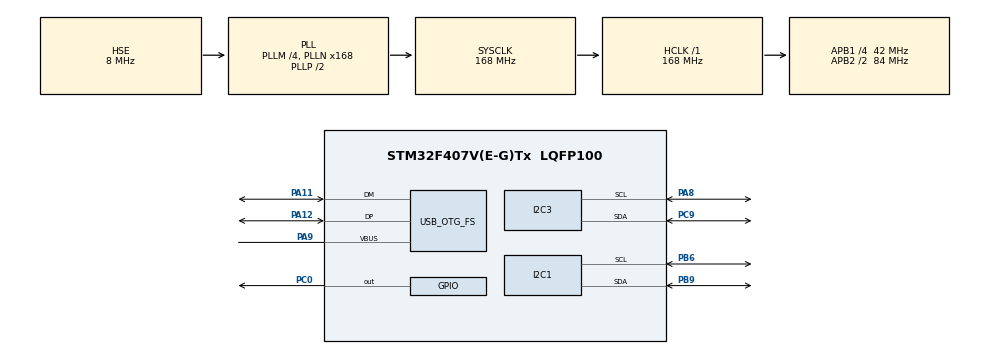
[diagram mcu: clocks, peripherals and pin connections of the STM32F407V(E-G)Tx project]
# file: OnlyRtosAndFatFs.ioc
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FATFS._MAX_SS=4096
FREERTOS.Tasks01=defaultTask,0,128,StartDefaultTask,Default,NULL,Dynamic,NULL,NULL;audioTask,-3,128,StartAudioTask,Default,NULL,Dynamic,NULL,NULL
Mcu.Family=STM32F4
Mcu.Name=STM32F407V(E-G)Tx
Mcu.Package=LQFP100
NVIC.OTG_FS_IRQn=true\:5\:0\:false\:false\:true\:true\:false\:true
NVIC.PriorityGroup=NVIC_PRIORITYGROUP_4
NVIC.TIM1_UP_TIM10_IRQn=true\:15\:0\:false\:false\:true\:false\:false\:true
NVIC.TimeBase=TIM1_UP_TIM10_IRQn
NVIC.TimeBaseIP=TIM1
PA0-WKUP.Mode=SYS_WakeUp0
PA0-WKUP.Signal=SYS_WKUP
PA11.Mode=Host_Only
PA11.Signal=USB_OTG_FS_DM
PA12.Mode=Host_Only
PA12.Signal=USB_OTG_FS_DP
PA13.Mode=Serial_Wire
PA13.Signal=SYS_JTMS-SWDIO
PA14.Mode=Serial_Wire
PA14.Signal=SYS_JTCK-SWCLK
PA8.Mode=I2C
PA8.Signal=I2C3_SCL
PA9.Mode=Activate_VBUS
PA9.Signal=USB_OTG_FS_VBUS
PB6.Mode=I2C
PB6.Signal=I2C1_SCL
PB9.Mode=I2C
PB9.Signal=I2C1_SDA
PC0.Signal=GPIO_Output
PC9.Mode=I2C
PC9.Signal=I2C3_SDA
PH0-OSC_IN.Mode=HSE-External-Oscillator
PH0-OSC_IN.Signal=RCC_OSC_IN
PH1-OSC_OUT.Mode=HSE-External-Oscillator
PH1-OSC_OUT.Signal=RCC_OSC_OUT
ProjectManager.HeapSize=0x200
ProjectManager.StackSize=0x400
ProjectManager.TargetToolchain=STM32CubeIDE
RCC.48MHZClocksFreq_Value=48000000
RCC.AHBFreq_Value=168000000
RCC.APB1CLKDivider=RCC_HCLK_DIV4
RCC.APB1Freq_Value=42000000
RCC.APB1TimFreq_Value=84000000
RCC.APB2CLKDivider=RCC_HCLK_DIV2
RCC.APB2Freq_Value=84000000
RCC.APB2TimFreq_Value=168000000
RCC.CortexFreq_Value=168000000
RCC.HCLKFreq_Value=168000000
RCC.HSE_VALUE=8000000
RCC.HSI_VALUE=16000000
RCC.LSE_VALUE=32768
RCC.PLLM=4
RCC.PLLN=168
RCC.PLLQ=7
RCC.SYSCLKFreq_VALUE=168000000
RCC.SYSCLKSource=RCC_SYSCLKSOURCE_PLLCLK
RCC.VCOOutputFreq_Value=336000000
TIM2.Period=0xFFFFFFFF-1
TIM2.Prescaler=83
USB_HOST.BSP.number=1
USB_HOST.USBH_HandleTypeDef-MSC_FS=hUsbHostFS
USB_HOST.VirtualModeFS=Msc
USB_HOST0.BSP.STBoard=false
USB_HOST0.BSP.api=Unknown
USB_HOST0.BSP.i2caddr=0
USB_HOST0.BSP.instance=PC0
USB_HOST0.BSP.ip=GPIO
USB_HOST0.BSP.mode=Output
USB_HOST0.BSP.name=Drive_VBUS_FS
USB_HOST0.BSP.solution=PC0
USB_OTG_FS.VirtualMode=Host_Only
USB_OTG_FS.phy_itface=HCD_PHY_EMBEDDED
VP_FATFS_VS_USB.Mode=USB
VP_FREERTOS_VS_CMSIS_V1.Mode=CMSIS_V1
VP_SYS_VS_tim1.Mode=TIM1
VP_TIM2_VS_ClockSourceINT.Mode=Internal
VP_USB_HOST_VS_USB_HOST_MSC_FS.Mode=MSC_FS
board=custom

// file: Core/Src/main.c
/* USER CODE BEGIN Header */
/**
  ******************************************************************************
  * @file           : main.c
  * @brief          : Main program body
  ******************************************************************************
  * @attention
  *
  * <h2><center>&copy; Copyright (c) 2021 STMicroelectronics.
  * All rights reserved.</center></h2>
  *
  * This software component is licensed by ST under BSD 3-Clause license,
  * the "License"; You may not use this file except in compliance with the
  * License. You may obtain a copy of the License at:
  *                        opensource.org/licenses/BSD-3-Clause
  *
  ******************************************************************************
  */
/* USER CODE END Header */
#include "main.h"
#include "cmsis_os.h"
#include "fatfs.h"
#include "usb_host.h"
#include "usb_host.h"

/* USER CODE BEGIN Includes */
#include "lcd.h"
/* USER CODE END Includes */

I2C_HandleTypeDef hi2c1;
I2C_HandleTypeDef hi2c3;

TIM_HandleTypeDef htim2;

osThreadId defaultTaskHandle;
osThreadId audioTaskHandle;
/* USER CODE BEGIN PV */
FATFS USBDISKFatFs;
//extern USBH_HandleTypeDef hUsbHostFS;
char *FilNam[20];//????? ??????
volatile int nFiles = 0;
extern ApplicationTypeDef Appli_state;

/* USER CODE END PV */

void SystemClock_Config(void);
static void MX_GPIO_Init(void);
static void MX_I2C1_Init(void);
static void MX_I2C3_Init(void);
static void MX_TIM2_Init(void);
void StartDefaultTask(void const * argument);
void StartAudioTask(void const * argument);

/* USER CODE BEGIN 0 */
void GetFileList(void)
{
   FRESULT result;                                                               /* FatFs function common result code */
   /* File read buffer */

   DIR dir;
   nFiles = 0;
   static FILINFO fileInfo;

//   FRESULT res = f_mount(&USBHFatFS,USBHPath,0);
   result = f_mount(&USBHFatFS,USBHPath,0);
   result = f_opendir(&dir, "/");

   if (result == FR_OK)//FR_NOT_ENABLED
   {
      result = f_readdir(&dir, &fileInfo);//??? ???? ????? ? ????? ???????? system volume
      while (((result = f_readdir(&dir, &fileInfo)) == FR_OK) && fileInfo.fname[0])
      {
         if(strstr(fileInfo.fname,".wav"))
         {
           FilNam[nFiles] =  ff_malloc(strlen(fileInfo.fname));
           strncpy(FilNam[nFiles], fileInfo.fname, (strlen(fileInfo.fname)));
           nFiles++;
         }
      }
   }
   f_closedir(&dir);
}
/* USER CODE END 0 */

int main(void)
{

  /* MCU Configuration--------------------------------------------------------*/

  /* Reset of all peripherals, Initializes the Flash interface and the Systick. */
  HAL_Init();

  /* Configure the system clock */
  SystemClock_Config();

  /* Initialize all configured peripherals */
  MX_GPIO_Init();
  MX_FATFS_Init();
  MX_I2C1_Init();
  MX_I2C3_Init();
  MX_TIM2_Init();
  /* USER CODE BEGIN 2 */
  HAL_TIM_Base_Start(&htim2);

  LCD_ini();
  /* USER CODE END 2 */

  /* Create the thread(s) */
  /* definition and creation of defaultTask */
  osThreadDef(defaultTask, StartDefaultTask, osPriorityNormal, 0, 128);
  defaultTaskHandle = osThreadCreate(osThread(defaultTask), NULL);

  /* definition and creation of audioTask */
  osThreadDef(audioTask, StartAudioTask, osPriorityIdle, 0, 128);
  audioTaskHandle = osThreadCreate(osThread(audioTask), NULL);

  /* Start scheduler */
  osKernelStart();

  /* We should never get here as control is now taken by the scheduler */
  /* Infinite loop */
  while (1)
  {

  }
}

void SystemClock_Config(void)
{
  RCC_OscInitTypeDef RCC_OscInitStruct = {0};
  RCC_ClkInitTypeDef RCC_ClkInitStruct = {0};

  /** Configure the main internal regulator output voltage
  */
  __HAL_RCC_PWR_CLK_ENABLE();
  __HAL_PWR_VOLTAGESCALING_CONFIG(PWR_REGULATOR_VOLTAGE_SCALE1);
  /** Initializes the RCC Oscillators according to the specified parameters
  * in the RCC_OscInitTypeDef structure.
  */
  RCC_OscInitStruct.OscillatorType = RCC_OSCILLATORTYPE_HSE;
  RCC_OscInitStruct.HSEState = RCC_HSE_ON;
  RCC_OscInitStruct.PLL.PLLState = RCC_PLL_ON;
  RCC_OscInitStruct.PLL.PLLSource = RCC_PLLSOURCE_HSE;
  RCC_OscInitStruct.PLL.PLLM = 4;
  RCC_OscInitStruct.PLL.PLLN = 168;
  RCC_OscInitStruct.PLL.PLLP = RCC_PLLP_DIV2;
  RCC_OscInitStruct.PLL.PLLQ = 7;
  if (HAL_RCC_OscConfig(&RCC_OscInitStruct) != HAL_OK)
  {
    Error_Handler();
  }
  /** Initializes the CPU, AHB and APB buses clocks
  */
  RCC_ClkInitStruct.ClockType = RCC_CLOCKTYPE_HCLK|RCC_CLOCKTYPE_SYSCLK
                              |RCC_CLOCKTYPE_PCLK1|RCC_CLOCKTYPE_PCLK2;
  RCC_ClkInitStruct.SYSCLKSource = RCC_SYSCLKSOURCE_PLLCLK;
  RCC_ClkInitStruct.AHBCLKDivider = RCC_SYSCLK_DIV1;
  RCC_ClkInitStruct.APB1CLKDivider = RCC_HCLK_DIV4;
  RCC_ClkInitStruct.APB2CLKDivider = RCC_HCLK_DIV2;

  if (HAL_RCC_ClockConfig(&RCC_ClkInitStruct, FLASH_LATENCY_5) != HAL_OK)
  {
    Error_Handler();
  }
}

static void MX_I2C1_Init(void)
{

  hi2c1.Instance = I2C1;
  hi2c1.Init.ClockSpeed = 100000;
  hi2c1.Init.DutyCycle = I2C_DUTYCYCLE_2;
  hi2c1.Init.OwnAddress1 = 0;
  hi2c1.Init.AddressingMode = I2C_ADDRESSINGMODE_7BIT;
  hi2c1.Init.DualAddressMode = I2C_DUALADDRESS_DISABLE;
  hi2c1.Init.OwnAddress2 = 0;
  hi2c1.Init.GeneralCallMode = I2C_GENERALCALL_DISABLE;
  hi2c1.Init.NoStretchMode = I2C_NOSTRETCH_DISABLE;
  if (HAL_I2C_Init(&hi2c1) != HAL_OK)
  {
    Error_Handler();
  }

}

static void MX_I2C3_Init(void)
{

  hi2c3.Instance = I2C3;
  hi2c3.Init.ClockSpeed = 100000;
  hi2c3.Init.DutyCycle = I2C_DUTYCYCLE_2;
  hi2c3.Init.OwnAddress1 = 0;
  hi2c3.Init.AddressingMode = I2C_ADDRESSINGMODE_7BIT;
  hi2c3.Init.DualAddressMode = I2C_DUALADDRESS_DISABLE;
  hi2c3.Init.OwnAddress2 = 0;
  hi2c3.Init.GeneralCallMode = I2C_GENERALCALL_DISABLE;
  hi2c3.Init.NoStretchMode = I2C_NOSTRETCH_DISABLE;
  if (HAL_I2C_Init(&hi2c3) != HAL_OK)
  {
    Error_Handler();
  }

}

static void MX_TIM2_Init(void)
{

  TIM_ClockConfigTypeDef sClockSourceConfig = {0};
  TIM_MasterConfigTypeDef sMasterConfig = {0};

  htim2.Instance = TIM2;
  htim2.Init.Prescaler = 83;
  htim2.Init.CounterMode = TIM_COUNTERMODE_UP;
  htim2.Init.Period = 0xFFFFFFFF-1;
  htim2.Init.ClockDivision = TIM_CLOCKDIVISION_DIV1;
  htim2.Init.AutoReloadPreload = TIM_AUTORELOAD_PRELOAD_DISABLE;
  if (HAL_TIM_Base_Init(&htim2) != HAL_OK)
  {
    Error_Handler();
  }
  sClockSourceConfig.ClockSource = TIM_CLOCKSOURCE_INTERNAL;
  if (HAL_TIM_ConfigClockSource(&htim2, &sClockSourceConfig) != HAL_OK)
  {
    Error_Handler();
  }
  sMasterConfig.MasterOutputTrigger = TIM_TRGO_RESET;
  sMasterConfig.MasterSlaveMode = TIM_MASTERSLAVEMODE_DISABLE;
  if (HAL_TIMEx_MasterConfigSynchronization(&htim2, &sMasterConfig) != HAL_OK)
  {
    Error_Handler();
  }

}

static void MX_GPIO_Init(void)
{
  GPIO_InitTypeDef GPIO_InitStruct = {0};

  /* GPIO Ports Clock Enable */
  __HAL_RCC_GPIOH_CLK_ENABLE();
  __HAL_RCC_GPIOC_CLK_ENABLE();
  __HAL_RCC_GPIOA_CLK_ENABLE();
  __HAL_RCC_GPIOB_CLK_ENABLE();

  /*Configure GPIO pin Output Level */
  HAL_GPIO_WritePin(GPIOC, GPIO_PIN_0, GPIO_PIN_RESET);

  /*Configure GPIO pin : PC0 */
  GPIO_InitStruct.Pin = GPIO_PIN_0;
  GPIO_InitStruct.Mode = GPIO_MODE_OUTPUT_PP;
  GPIO_InitStruct.Pull = GPIO_NOPULL;
  GPIO_InitStruct.Speed = GPIO_SPEED_FREQ_LOW;
  HAL_GPIO_Init(GPIOC, &GPIO_InitStruct);

}

void StartDefaultTask(void const * argument)
{
  /* init code for USB_HOST */
  MX_USB_HOST_Init();
  /* USER CODE BEGIN 5 */
    LCD_Clear();
	LCD_SetPos(0, 0);
	LCD_String("You'd better run");
	HAL_Delay(2000);
  /* Infinite loop */
  for(;;)
  {
    osDelay(1);
  }
  /* USER CODE END 5 */
}

void StartAudioTask(void const * argument)
{
  for(;;)
  {
    osDelay(1);
  }
}

void HAL_TIM_PeriodElapsedCallback(TIM_HandleTypeDef *htim)
{
  if (htim->Instance == TIM1) {
    HAL_IncTick();
  }
}

void Error_Handler(void)
{
  __disable_irq();
  while (1)
  {
  }
}

/************************ (C) COPYRIGHT STMicroelectronics *****END OF FILE****/
